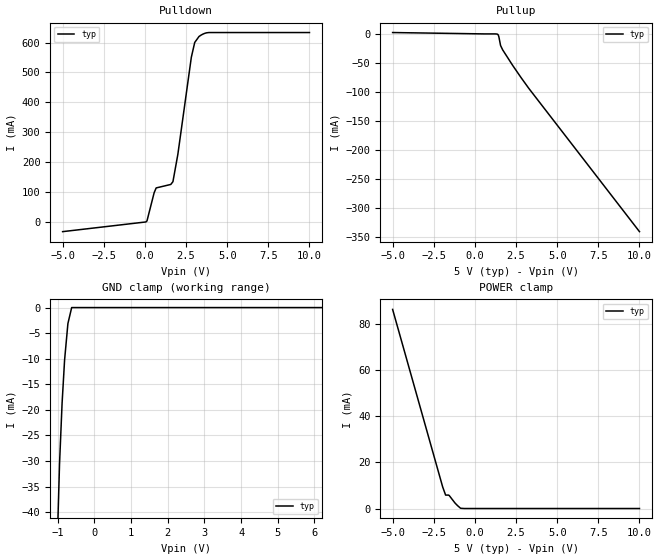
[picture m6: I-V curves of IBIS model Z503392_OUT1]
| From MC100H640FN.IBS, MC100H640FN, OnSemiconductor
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| (C) COPYRIGHT 1993-2000
| MENTOR GRAPHICS CORPORATION
| ICX STANDARD LIBRARY, ICX PROJECT MODELING,
| ICX CUSTOM MODELING, ICX VENDOR MODEL
| ALL RIGHTS RESERVED.
| THE FOLLOWING ARE TRADEMARKS OR SERVICE MARKS OF
| MENTOR GRAPHICS CORPORATION:ICX (R), ICX STANDARD
| LIBRARY(R), ICX PROJECT MODELING(R), ICX CUSTOM
| MODELING(R), qualityIBIS(TM), MODELVIEWER(TM),
| AND MODELEDITOR(TM)
| ALL COPIES OF SOFTWARE, INCLUDING BUT NOT LIMITED TO
| ANY MODIFICATIONS, ENHANCEMENTS OR DERIVATIVE WORKS,
| MUST CONTAIN ALL MENTOR GRAPHICS CORPORATION'S
| NOTICES AND LEGENDS, INCLUDING THOSE EMBEDDED IN
| SOFTWARE AND THOSE AFFIXED TO SOFTWARE MEDIUM
| AND CONTAINER, AS RECEIVED FROM MENTOR GRAPHICS
| CORPORATION.
| Model Application Version 1.89 2/18/99.
[Model] Z503392_OUT1
Model_type Output
Vref=0.000V
Rref=500.0Mohms
Cref=25.00pF
Vmeas=1.500V
C_comp 2.000pF NA NA
| variable typ   min   max
[Voltage Range] 5.000V NA NA
[POWER Clamp Reference] 5.000V NA NA
[Pullup Reference] 5.000V NA NA
[Pulldown Reference] 0.000V NA NA
[GND Clamp Reference] 0.000V NA NA
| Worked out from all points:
|   slope of the pulldown table from 0 to 0.75 V, typ, clamps not added: 6.5 ohm
|   slope of the pullup table from 0 to 0.75 V, typ, clamps not added: 2.99 kohm
|   GND clamp passes 1 mA (typ) near -0.65 V on its own axis
|   POWER clamp passes 1 mA (typ) near -1.01 V on its own axis
[GND Clamp]
-5V       -1.915A    NA         NA
-1.17V    -97.69mA   NA         NA
-1.074V   -61.94mA   NA         NA
-947.3mV  -30.5mA    NA         NA
-878.7mV  -18.78mA   NA         NA
-810.4mV  -10.29mA   NA         NA
-719.8mV  -3.135mA   NA         NA
-617mV    0A         NA         NA
10V       0A         NA         NA
[Pulldown]
-5V       -33.71mA   NA         NA
127.9mV   2.61mA     NA         NA
562mV     96.89mA    NA         NA
684.7mV   112.9mA    NA         NA
1.571V    124.5mA    NA         NA
1.703V    133.7mA    NA         NA
2.002V    225.4mA    NA         NA
2.822V    551.2mA    NA         NA
3.027V    600.6mA    NA         NA
3.287V    620.6mA    NA         NA
3.892V    633.9mA    NA         NA
10V       633.9mA    NA         NA
[Pullup]
-5V       2.227mA    NA         NA
1.382V    -792uA     NA         NA
1.455V    -4.916mA   NA         NA
1.559V    -20.11mA   NA         NA
1.689V    -27.75mA   NA         NA
2.814V    -75.87mA   NA         NA
3.272V    -93.94mA   NA         NA
10V       -341.1mA   NA         NA
[POWER Clamp]
-5V       86.53mA    NA         NA
-1.957V   9.341mA    NA         NA
-1.78V    5.835mA    NA         NA
-1.602V   5.835mA    NA         NA
-1.562V   5.662mA    NA         NA
-1.211V   2.399mA    NA         NA
-1.05V    1.223mA    NA         NA
-870mV    107.7uA    NA         NA
-652.5mV  0A         NA         NA
10V       0A         NA         NA
[Ramp]
| variable typ min max
dV/dt_r 2.067/3.114n NA NA
dV/dt_f 2.067/1.754n NA NA
R_load = 500.0Ohms
